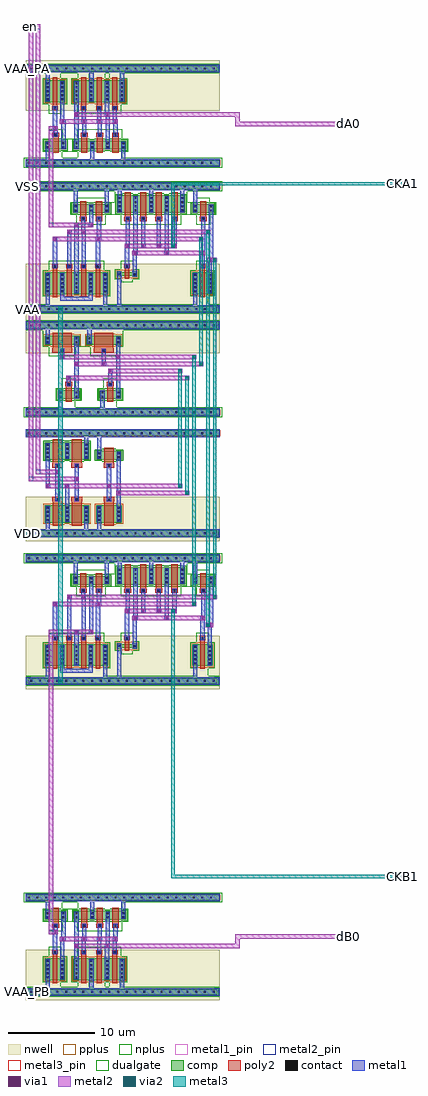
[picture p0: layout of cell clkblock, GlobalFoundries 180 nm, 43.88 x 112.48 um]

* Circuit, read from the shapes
.subckt clkblock CKA1 CKB1 VAA VAA_PA VAA_PB VDD VSS ck dA0 dB0 en
XM1 ck_pB_5/pB1 ck_aB_0/gB VSS VSS nfet_06v0 w=1u l=0.7u
XM2 n1 ck ck_FE_4/inb VSS nfet_03v3 w=2u l=1.12u
XM3 ck_pA_2/pA1 ck_aA_3/gA VSS VSS nfet_06v0 w=1u l=0.7u
XM4 ck_LS_1/x ck_FE_4/in VSS VSS nfet_06v0 w=1u l=0.7u
XM5 VSS en n1 VSS nfet_03v3 w=2u l=1.12u
XM6 ck_aB_0/gB ck_aA_3/sA VSS VSS nfet_06v0 w=1u l=0.7u
XM7 ck_aA_3/gA ck_aA_3/sB VSS VSS nfet_06v0 w=1u l=0.7u
XM8 VSS ck_pB_5/pB1 dB0 VSS nfet_06v0 w=1u l=0.7u m=3
XM9 VSS ck_pA_2/pA1 dA0 VSS nfet_06v0 w=1u l=0.7u m=3
XM10 VSS ck_LS_1/xb ck_aB_0/gB VSS nfet_06v0 w=1u l=0.7u
XM11 VSS ck_LS_1/x ck_aA_3/gA VSS nfet_06v0 w=1u l=0.7u
XM12 ck_FE_4/in ck_FE_4/inb VSS VSS nfet_03v3 w=1u l=1.12u
XM13 ck_LS_1/xb ck_FE_4/inb VSS VSS nfet_06v0 w=1u l=0.7u
XM14 ck_aB_0/fB CKB1 VSS VSS nfet_06v0 w=2u l=0.7u m=4
XM15 ck_aA_3/fA CKA1 VSS VSS nfet_06v0 w=2u l=0.7u m=4
XM16 ck_aA_3/sB ck_aB_0/fB VSS VSS nfet_06v0 w=1u l=0.7u
XM17 ck_aA_3/sA ck_aA_3/fA VSS VSS nfet_06v0 w=1u l=0.7u
XM18 ck_pB_5/pB1 ck_aB_0/gB VAA_PB VAA_PB pfet_06v0 w=2.5u l=0.55u
XM19 n2 ck_LS_1/xb VAA VAA pfet_06v0 w=2.5u l=0.55u m=2
XM20 ck_FE_4/inb ck VDD VDD pfet_03v3 w=2u l=1.12u
XM21 ck_LS_1/x ck_LS_1/xb VAA VAA pfet_06v0 w=1u l=2.2u
XM22 n3 ck_LS_1/x VAA VAA pfet_06v0 w=2.5u l=0.55u m=2
XM23 ck_pA_2/pA1 ck_aA_3/gA VAA_PA VAA_PA pfet_06v0 w=2.5u l=0.55u
XM24 ck_aB_0/gB ck_aA_3/sA n2 VAA pfet_06v0 w=2.5u l=0.55u m=2
XM25 ck_aA_3/gA ck_aA_3/sB n3 VAA pfet_06v0 w=2.5u l=0.55u m=2
XM26 VDD en ck_FE_4/inb VDD pfet_03v3 w=2u l=1.12u
XM27 VAA_PB ck_pB_5/pB1 dB0 VAA_PB pfet_06v0 w=2.5u l=0.55u m=3
XM28 VAA_PA ck_pA_2/pA1 dA0 VAA_PA pfet_06v0 w=2.5u l=0.55u m=3
XM29 ck_LS_1/xb ck_LS_1/x VAA VAA pfet_06v0 w=1u l=2.2u
XM30 ck_FE_4/in ck_FE_4/inb VDD VDD pfet_03v3 w=2u l=1.12u
XM31 ck_aB_0/fB CKB1 VAA VAA pfet_06v0 w=0.4u l=0.55u
XM32 ck_aA_3/fA CKA1 VAA VAA pfet_06v0 w=0.4u l=0.55u
XM33 ck_aA_3/sB ck_aB_0/fB VAA VAA pfet_06v0 w=2.5u l=0.55u
XM34 ck_aA_3/sA ck_aA_3/fA VAA VAA pfet_06v0 w=2.5u l=0.55u
.ends

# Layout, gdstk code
import gdstk
lib = gdstk.Library(unit=1e-6, precision=1e-09)
def R(c, l, rs):  # rectangles x0, y0, x1, y1
    for r in rs: c.add(gdstk.rectangle(r[:2], r[2:], *l))
def A(c, l, x, y, w, h, nx, ny, dx, dy):  # array of equal rectangles
    R(c, l, [(x+i*dx, y+j*dy, x+i*dx+w, y+j*dy+h) for i in range(nx) for j in range(ny)])
nwell = (21, 0)
comp = (22, 0)
poly2 = (30, 0)
pplus = (31, 0)
nplus = (32, 0)
contact = (33, 0)
metal1 = (34, 0)
metal1_pin = (34, 10)
via1 = (35, 0)
metal2 = (36, 0)
metal2_pin = (36, 10)
via2 = (38, 0)
metal3 = (42, 0)
metal3_pin = (42, 10)
dualgate = (55, 0)

ck_ab = lib.new_cell('ck_aB')
R(ck_ab, nwell, [(0,9.36,22.385,15.52)])
R(ck_ab, comp, [(0,0.12,22.385,0.78), (10.5,1.5,18.4,3.5), (5.4,2.5,9.7,3.5), (19.2,2.5,21.7,3.5), (10.5,10.23,11.08,10.36), (12.27,10.23,12.85,10.36), (2.2,10.36,9.5,12.86), (10.5,10.36,12.85,10.76), (19.2,10.36,21.55,12.86), (10.5,10.76,11.08,10.89), (12.27,10.76,12.85,10.89), (0.3,14.26,22.085,14.92)])
A(ck_ab, poly2, 11.4, 1.15, 0.7, 2.8, 4, 1, 1.8, 0)
A(ck_ab, poly2, 11.35, 3.95, 0.8, 0.5, 4, 1, 1.8, 0)
A(ck_ab, poly2, 3.05, 9.41, 0.65, 0.5, 4, 1, 1.65, 0)
A(ck_ab, poly2, 3.1, 9.91, 0.55, 3.3, 4, 1, 1.65, 0)
R(ck_ab, poly2, [(6.3,2.15,7,3.95), (8.1,2.15,8.8,3.95), (20.1,2.15,20.8,3.95), (6.25,3.95,7.05,4.45), (8.05,3.95,8.85,4.45), (20.05,3.95,20.85,4.45), (11.35,9.41,12,9.91), (20.05,9.41,20.7,9.91), (11.4,9.91,11.95,11.11), (20.1,9.91,20.65,13.21)])
A(ck_ab, pplus, 2.87, 10.13, 1.01, 0.07, 4, 2, 1.65, 2.89)
R(ck_ab, pplus, [(-0.02,0.1,22.405,0.8), (10.34,10.07,11.24,10.13), (12.11,10.07,13.01,10.13), (10.34,10.13,13.01,10.99), (19.87,10.13,20.88,10.2), (2.04,10.2,9.66,13.02), (19.04,10.2,21.71,13.02), (10.34,10.99,11.24,11.05), (12.11,10.99,13.01,11.05), (19.87,13.02,20.88,13.09)])
A(ck_ab, nplus, 11.17, 1.27, 1.16, 0.07, 4, 2, 1.8, 2.39)
R(ck_ab, nplus, [(10.34,1.34,18.56,3.66), (6.07,2.27,7.23,2.34), (7.87,2.27,9.03,2.34), (19.87,2.27,21.03,2.34), (5.24,2.34,9.86,3.66), (19.04,2.34,21.86,3.66), (6.07,3.66,7.23,3.73), (7.87,3.66,9.03,3.73), (19.87,3.66,21.03,3.73), (0.14,14.1,0.59,14.24), (21.795,14.1,22.245,14.24), (0.14,14.24,22.245,14.94), (0.14,14.94,0.59,15.08), (21.795,14.94,22.245,15.08)])
A(ck_ab, contact, 0.24, 0.34, 0.22, 0.22, 22, 1, 1, 0)
A(ck_ab, contact, 10.74, 1.685, 0.22, 0.22, 5, 4, 1.8, 0.47)
A(ck_ab, contact, 5.64, 2.655, 0.22, 0.22, 3, 2, 1.8, 0.47)
A(ck_ab, contact, 11.64, 4.09, 0.22, 0.22, 4, 1, 1.8, 0)
A(ck_ab, contact, 3.265, 9.55, 0.22, 0.22, 4, 1, 1.65, 0)
A(ck_ab, contact, 2.44, 10.56, 0.22, 0.22, 5, 5, 1.65, 0.47)
A(ck_ab, contact, 19.44, 10.56, 0.22, 0.22, 1, 5, 0, 0.47)
A(ck_ab, contact, 21.09, 10.56, 0.22, 0.22, 1, 5, 0, 0.47)
A(ck_ab, contact, 0.54, 14.48, 0.22, 0.22, 22, 1, 1, 0)
R(ck_ab, contact, [(19.44,2.655,19.66,2.875), (21.24,2.655,21.46,2.875), (19.44,3.125,19.66,3.345), (21.24,3.125,21.46,3.345), (6.54,4.09,6.76,4.31), (8.34,4.09,8.56,4.31), (20.34,4.09,20.56,4.31), (11.565,9.55,11.785,9.77), (20.265,9.55,20.485,9.77), (10.68,10.45,10.9,10.67), (12.45,10.45,12.67,10.67)])
A(ck_ab, metal1, 10.61, 0.9, 0.48, 2.51, 3, 1, 3.6, 0)
A(ck_ab, metal1, 11.51, 3.96, 0.48, 2.31, 4, 1, 1.8, 0)
A(ck_ab, metal1, 13.29, 6.27, 0.52, 0.52, 3, 1, 1.8, 0)
R(ck_ab, metal1, [(0,0,22.385,0.9), (5.51,0.9,5.99,3.41), (9.11,0.9,9.59,3.41), (19.31,0.9,19.79,3.41), (12.41,1.59,12.89,7.07), (16.01,1.59,16.49,7.07), (7.31,2.59,7.79,8.67), (21.11,2.59,21.59,7.87), (6.41,3.96,6.89,4.67), (8.21,3.96,8.69,5.47), (20.21,3.96,20.69,7.07), (4.765,4.67,5.285,5.19), (6.39,4.67,6.935,5.19), (4.785,5.19,5.265,9.9), (6.435,5.19,6.915,9.9), (3.115,5.47,3.635,5.99), (8.065,5.47,8.71,5.99), (3.135,5.99,3.615,9.9), (8.085,5.99,8.565,9.9), (11.415,6.27,12.01,6.79), (11.435,6.79,11.915,9.9), (12.3,7.07,12.91,7.59), (15.99,7.07,16.51,7.59), (20.115,7.07,20.71,7.59), (12.32,7.59,12.8,10.8), (20.135,7.59,20.615,9.9), (20.94,7.87,21.61,8.39), (20.96,8.39,21.44,12.77), (5.59,8.67,6.11,9.19), (7.29,8.67,7.81,9.19), (5.61,9.19,6.09,12.77), (10.55,10.32,11.03,14.14), (2.31,10.45,2.79,14.14), (3.96,10.45,4.44,13.16), (7.26,10.45,7.74,13.16), (8.91,10.45,9.39,14.14), (19.31,10.45,19.79,14.14), (3.96,13.16,7.74,13.64), (0,14.14,22.385,15.04)])
R(ck_ab, metal1_pin, [(0,0,0.5,0.9), (0,14.14,0.5,15.04)])
A(ck_ab, via1, 13.42, 6.4, 0.26, 0.26, 3, 1, 1.8, 0)
R(ck_ab, via1, [(4.895,4.8,5.155,5.06), (6.53,4.8,6.79,5.06), (3.245,5.6,3.505,5.86), (8.255,5.6,8.515,5.86), (11.58,6.4,11.84,6.66), (12.475,7.2,12.735,7.46), (16.12,7.2,16.38,7.46), (20.28,7.2,20.54,7.46), (21.145,8,21.405,8.26), (5.72,8.8,5.98,9.06), (7.42,8.8,7.68,9.06)])
R(ck_ab, metal2, [(4.765,4.67,22.045,5.19), (3.115,5.47,19.645,5.99), (11.415,6.27,17.41,6.79), (12.3,7.07,20.71,7.59), (20.725,7.87,21.61,8.39), (2.64,8.67,7.81,9.19)])
R(ck_ab, metal2_pin, [(4.765,4.67,5.285,5.19), (3.115,5.47,3.635,5.99), (11.415,6.27,11.935,6.79), (12.3,7.07,12.82,7.59), (20.725,7.87,21.245,8.39), (2.64,8.67,3.16,9.19)])
R(ck_ab, dualgate, [(-0.24,-0.12,22.625,1.02), (10.26,1.02,18.64,2.26), (5.9,1.75,9.2,2.26), (19.7,1.75,21.2,2.26), (5.16,2.26,21.94,3.74), (5.85,3.74,9.25,4.85), (10.95,3.74,17.95,4.85), (19.65,3.74,21.25,4.85), (2.65,9.01,9.05,10.12), (10.95,9.01,12.4,9.99), (19.65,9.01,21.1,10.12), (10.26,9.99,13.09,11.13), (1.96,10.12,9.74,13.1), (18.96,10.12,21.79,13.1), (11,11.13,12.35,11.51), (2.7,13.1,9,14.02), (19.7,13.1,21.05,14.02), (0.06,14.02,22.325,15.16)])
ck_ab.add(gdstk.Label('VAA', (0.25,14.59), layer=34, texttype=10))
ck_ab.add(gdstk.Label('VSS', (0.25,0.45), layer=34, texttype=10))
ck_ab.add(gdstk.Label('gB', (2.9,8.93), layer=36, texttype=10))
ck_ab.add(gdstk.Label('sB', (20.985,8.13), layer=36, texttype=10))
ck_ab.add(gdstk.Label('fB', (12.56,7.33), layer=36, texttype=10))
ck_ab.add(gdstk.Label('CKB1', (11.675,6.53), layer=36, texttype=10))
ck_ab.add(gdstk.Label('xb', (3.375,5.73), layer=36, texttype=10))
ck_ab.add(gdstk.Label('sA', (5.025,4.93), layer=36, texttype=10))

ck_ls = lib.new_cell('ck_LS')
R(ck_ls, nwell, [(0,7.26,22.385,11.42)])
R(ck_ls, comp, [(0,0.12,22.385,0.78), (3.7,2,6.2,3), (8.5,2,11,3), (2.2,8.26,6.2,9.26), (7,8.26,11,9.26), (0.3,10.16,22.085,10.82)])
R(ck_ls, poly2, [(4.6,1.65,5.3,3.45), (9.4,1.65,10.1,3.45), (4.55,3.45,5.35,3.95), (9.35,3.45,10.15,3.95), (3.05,7.31,5.35,7.81), (7.85,7.31,10.15,7.81), (3.1,7.81,5.3,9.61), (7.9,7.81,10.1,9.61)])
R(ck_ls, pplus, [(-0.02,0.1,22.405,0.8), (2.87,8.03,5.53,8.1), (7.67,8.03,10.33,8.1), (2.04,8.1,6.36,9.42), (6.84,8.1,11.16,9.42), (2.87,9.42,5.53,9.49), (7.67,9.42,10.33,9.49)])
R(ck_ls, nplus, [(4.37,1.77,5.53,1.84), (9.17,1.77,10.33,1.84), (3.54,1.84,6.36,3.16), (8.34,1.84,11.16,3.16), (4.37,3.16,5.53,3.23), (9.17,3.16,10.33,3.23), (0.14,10,0.59,10.14), (21.795,10,22.245,10.14), (0.14,10.14,22.245,10.84), (0.14,10.84,0.59,10.98), (21.795,10.84,22.245,10.98)])
A(ck_ls, contact, 0.24, 0.34, 0.22, 0.22, 22, 1, 1, 0)
A(ck_ls, contact, 0.54, 10.38, 0.22, 0.22, 22, 1, 1, 0)
R(ck_ls, contact, [(3.94,2.155,4.16,2.375), (5.74,2.155,5.96,2.375), (8.74,2.155,8.96,2.375), (10.54,2.155,10.76,2.375), (3.94,2.625,4.16,2.845), (5.74,2.625,5.96,2.845), (8.74,2.625,8.96,2.845), (10.54,2.625,10.76,2.845), (4.84,3.59,5.06,3.81), (9.64,3.59,9.86,3.81), (4.09,7.45,4.31,7.67), (8.89,7.45,9.11,7.67), (2.44,8.415,2.66,8.635), (5.74,8.415,5.96,8.635), (7.24,8.415,7.46,8.635), (10.54,8.415,10.76,8.635), (2.44,8.885,2.66,9.105), (5.74,8.885,5.96,9.105), (7.24,8.885,7.46,9.105), (10.54,8.885,10.76,9.105)])
R(ck_ls, metal1, [(0,0,22.385,0.9), (3.81,0.9,4.29,2.91), (8.61,0.9,9.09,2.91), (5.61,2.09,6.09,5.77), (10.41,2.09,10.89,6.57), (4.71,3.46,5.19,4.17), (9.51,3.46,9.99,4.97), (4.69,4.17,5.21,4.69), (9.49,4.97,10.01,5.49), (5.59,5.77,6.11,6.29), (8.74,5.77,9.26,6.29), (5.61,6.29,6.09,9.17), (8.76,6.29,9.24,7.8), (3.94,6.57,4.46,7.09), (10.39,6.57,10.91,7.09), (3.96,7.09,4.44,7.8), (10.41,7.09,10.89,9.17), (2.31,8.35,2.79,10.04), (7.11,8.35,7.59,10.04), (0,10.04,22.385,10.94)])
R(ck_ls, metal1_pin, [(0,0,0.5,0.9), (0,10.04,0.5,10.94)])
R(ck_ls, via1, [(4.82,4.3,5.08,4.56), (9.62,5.1,9.88,5.36), (5.72,5.9,5.98,6.16), (8.87,5.9,9.13,6.16), (4.07,6.7,4.33,6.96), (10.52,6.7,10.78,6.96)])
R(ck_ls, metal2, [(4.69,4.17,18.845,4.69), (9.49,4.97,18.045,5.49), (5.59,5.77,20.445,6.29), (3.94,6.57,19.645,7.09)])
R(ck_ls, metal2_pin, [(4.69,4.17,5.21,4.69), (9.49,4.97,10.01,5.49), (5.59,5.77,6.11,6.29), (3.94,6.57,4.46,7.09)])
R(ck_ls, dualgate, [(-0.24,-0.12,22.625,1.02), (4.2,1.02,5.7,1.76), (9,1.02,10.5,1.76), (3.46,1.76,6.44,3.24), (8.26,1.76,11.24,3.24), (4.15,3.24,5.75,4.35), (8.95,3.24,10.55,4.35), (2.65,6.91,5.75,8.02), (7.45,6.91,10.55,8.02), (1.96,8.02,11.24,9.92), (0.06,9.92,22.325,11.06)])
ck_ls.add(gdstk.Label('VAA', (0.25,10.49), layer=34, texttype=10))
ck_ls.add(gdstk.Label('VSS', (0.25,0.45), layer=34, texttype=10))
ck_ls.add(gdstk.Label('xb', (4.2,6.83), layer=36, texttype=10))
ck_ls.add(gdstk.Label('x', (5.85,6.03), layer=36, texttype=10))
ck_ls.add(gdstk.Label('inb', (9.75,5.23), layer=36, texttype=10))
ck_ls.add(gdstk.Label('in', (4.95,4.43), layer=36, texttype=10))

ck_pa = lib.new_cell('ck_pA')
R(ck_pa, nwell, [(0,6.46,22.385,12.26)])
R(ck_pa, comp, [(0,0.12,22.385,0.78), (2.2,2,4.7,3), (5.5,2,11.6,3), (2.2,7.46,4.55,9.96), (5.5,7.46,11.45,9.96), (0.3,11,22.085,11.66)])
A(ck_pa, poly2, 6.4, 1.65, 0.7, 1.8, 3, 1, 1.8, 0)
A(ck_pa, poly2, 6.35, 3.45, 0.8, 0.5, 3, 1, 1.8, 0)
A(ck_pa, poly2, 6.35, 6.51, 0.65, 0.5, 3, 1, 1.8, 0)
A(ck_pa, poly2, 6.4, 7.01, 0.55, 3.3, 3, 1, 1.8, 0)
R(ck_pa, poly2, [(3.1,1.65,3.8,3.45), (3.05,3.45,3.85,3.95), (3.05,6.51,3.7,7.01), (3.1,7.01,3.65,10.31)])
A(ck_pa, pplus, 6.17, 7.23, 1.01, 0.07, 3, 2, 1.8, 2.89)
R(ck_pa, pplus, [(-0.02,0.1,22.405,0.8), (2.87,7.23,3.88,7.3), (2.04,7.3,4.71,10.12), (5.34,7.3,11.61,10.12), (2.87,10.12,3.88,10.19)])
A(ck_pa, nplus, 6.17, 1.77, 1.16, 0.07, 3, 2, 1.8, 1.39)
R(ck_pa, nplus, [(2.87,1.77,4.03,1.84), (2.04,1.84,4.86,3.16), (5.34,1.84,11.76,3.16), (2.87,3.16,4.03,3.23), (0.14,10.84,0.59,10.98), (21.795,10.84,22.245,10.98), (0.14,10.98,22.245,11.68), (0.14,11.68,0.59,11.82), (21.795,11.68,22.245,11.82)])
A(ck_pa, contact, 0.24, 0.34, 0.22, 0.22, 22, 1, 1, 0)
A(ck_pa, contact, 5.74, 2.155, 0.22, 0.22, 4, 2, 1.8, 0.47)
A(ck_pa, contact, 6.64, 3.59, 0.22, 0.22, 3, 1, 1.8, 0)
A(ck_pa, contact, 6.565, 6.65, 0.22, 0.22, 3, 1, 1.8, 0)
A(ck_pa, contact, 2.44, 7.66, 0.22, 0.22, 3, 5, 1.65, 0.47)
A(ck_pa, contact, 7.465, 7.66, 0.22, 0.22, 1, 5, 0, 0.47)
A(ck_pa, contact, 9.265, 7.66, 0.22, 0.22, 1, 5, 0, 0.47)
A(ck_pa, contact, 10.99, 7.66, 0.22, 0.22, 1, 5, 0, 0.47)
A(ck_pa, contact, 0.54, 11.22, 0.22, 0.22, 22, 1, 1, 0)
R(ck_pa, contact, [(2.44,2.155,2.66,2.375), (4.24,2.155,4.46,2.375), (2.44,2.625,2.66,2.845), (4.24,2.625,4.46,2.845), (3.34,3.59,3.56,3.81), (3.265,6.65,3.485,6.87)])
A(ck_pa, metal1, 6.51, 3.46, 0.48, 1.51, 3, 1, 1.8, 0)
A(ck_pa, metal1, 6.415, 4.97, 0.595, 0.52, 3, 1, 1.8, 0)
A(ck_pa, metal1, 6.435, 5.49, 0.48, 1.51, 3, 1, 1.8, 0)
R(ck_pa, metal1, [(0,0,22.385,0.9), (2.31,0.9,2.79,2.91), (7.41,0.9,7.89,2.91), (11.01,0.9,11.49,2.91), (4.11,2.09,4.59,4.97), (5.61,2.09,6.09,5.77), (9.21,2.09,9.69,5.77), (3.21,3.46,3.69,4.17), (3.115,4.17,3.71,4.69), (3.135,4.69,3.615,7), (3.94,4.97,4.61,5.49), (3.96,5.49,4.44,9.87), (5.59,5.77,6.11,6.29), (9.115,5.77,9.71,6.29), (5.61,6.29,6.09,9.87), (9.135,6.29,9.615,9.87), (2.31,7.55,2.79,10.88), (7.335,7.55,7.815,10.88), (10.86,7.55,11.34,10.88), (0,10.88,22.385,11.78)])
R(ck_pa, metal1_pin, [(0,0,0.5,0.9), (0,10.88,0.5,11.78)])
A(ck_pa, via1, 6.58, 5.1, 0.26, 0.26, 3, 1, 1.8, 0)
R(ck_pa, via1, [(3.28,4.3,3.54,4.56), (4.145,5.1,4.405,5.36), (5.72,5.9,5.98,6.16), (9.28,5.9,9.54,6.16)])
R(ck_pa, metal2, [(2.64,4.17,3.71,4.69), (3.94,4.97,10.61,5.49), (5.59,5.77,22.645,6.29)])
R(ck_pa, metal2_pin, [(2.64,4.17,3.16,4.69), (3.94,4.97,4.46,5.49), (5.59,5.77,6.11,6.29)])
A(ck_pa, dualgate, 6, 10.2, 1.35, 0.56, 3, 1, 1.8, 0)
R(ck_pa, dualgate, [(-0.24,-0.12,22.625,1.02), (2.7,1.02,4.2,1.76), (6,1.02,11.1,1.76), (1.96,1.76,11.84,3.24), (2.65,3.24,4.25,4.35), (5.95,3.24,11.15,4.35), (2.65,6.11,4.1,7.22), (5.95,6.11,11,7.22), (1.96,7.22,4.79,10.2), (5.26,7.22,11.69,10.2), (2.7,10.2,4.05,10.76), (0.06,10.76,22.325,11.9)])
ck_pa.add(gdstk.Label('VAA_PA', (0.25,11.33), layer=34, texttype=10))
ck_pa.add(gdstk.Label('VSS', (0.25,0.45), layer=34, texttype=10))
ck_pa.add(gdstk.Label('dA0', (5.85,6.03), layer=36, texttype=10))
ck_pa.add(gdstk.Label('pA1', (4.2,5.23), layer=36, texttype=10))
ck_pa.add(gdstk.Label('gA', (2.9,4.43), layer=36, texttype=10))

ck_aa = lib.new_cell('ck_aA')
R(ck_aa, nwell, [(0,9.36,22.385,15.52)])
R(ck_aa, comp, [(0,0.12,22.385,0.78), (10.5,1.5,18.4,3.5), (5.4,2.5,9.7,3.5), (19.2,2.5,21.7,3.5), (10.5,10.23,11.08,10.36), (12.27,10.23,12.85,10.36), (2.2,10.36,9.5,12.86), (10.5,10.36,12.85,10.76), (19.2,10.36,21.55,12.86), (10.5,10.76,11.08,10.89), (12.27,10.76,12.85,10.89), (0.3,14.26,22.085,14.92)])
A(ck_aa, poly2, 11.4, 1.15, 0.7, 2.8, 4, 1, 1.8, 0)
A(ck_aa, poly2, 11.35, 3.95, 0.8, 0.5, 4, 1, 1.8, 0)
A(ck_aa, poly2, 3.05, 9.41, 0.65, 0.5, 4, 1, 1.65, 0)
A(ck_aa, poly2, 3.1, 9.91, 0.55, 3.3, 4, 1, 1.65, 0)
R(ck_aa, poly2, [(6.3,2.15,7,3.95), (8.1,2.15,8.8,3.95), (20.1,2.15,20.8,3.95), (6.25,3.95,7.05,4.45), (8.05,3.95,8.85,4.45), (20.05,3.95,20.85,4.45), (11.35,9.41,12,9.91), (20.05,9.41,20.7,9.91), (11.4,9.91,11.95,11.11), (20.1,9.91,20.65,13.21)])
A(ck_aa, pplus, 2.87, 10.13, 1.01, 0.07, 4, 2, 1.65, 2.89)
R(ck_aa, pplus, [(-0.02,0.1,22.405,0.8), (10.34,10.07,11.24,10.13), (12.11,10.07,13.01,10.13), (10.34,10.13,13.01,10.99), (19.87,10.13,20.88,10.2), (2.04,10.2,9.66,13.02), (19.04,10.2,21.71,13.02), (10.34,10.99,11.24,11.05), (12.11,10.99,13.01,11.05), (19.87,13.02,20.88,13.09)])
A(ck_aa, nplus, 11.17, 1.27, 1.16, 0.07, 4, 2, 1.8, 2.39)
R(ck_aa, nplus, [(10.34,1.34,18.56,3.66), (6.07,2.27,7.23,2.34), (7.87,2.27,9.03,2.34), (19.87,2.27,21.03,2.34), (5.24,2.34,9.86,3.66), (19.04,2.34,21.86,3.66), (6.07,3.66,7.23,3.73), (7.87,3.66,9.03,3.73), (19.87,3.66,21.03,3.73), (0.14,14.1,0.59,14.24), (21.795,14.1,22.245,14.24), (0.14,14.24,22.245,14.94), (0.14,14.94,0.59,15.08), (21.795,14.94,22.245,15.08)])
A(ck_aa, contact, 0.24, 0.34, 0.22, 0.22, 22, 1, 1, 0)
A(ck_aa, contact, 10.74, 1.685, 0.22, 0.22, 5, 4, 1.8, 0.47)
A(ck_aa, contact, 5.64, 2.655, 0.22, 0.22, 3, 2, 1.8, 0.47)
A(ck_aa, contact, 11.64, 4.09, 0.22, 0.22, 4, 1, 1.8, 0)
A(ck_aa, contact, 3.265, 9.55, 0.22, 0.22, 4, 1, 1.65, 0)
A(ck_aa, contact, 2.44, 10.56, 0.22, 0.22, 5, 5, 1.65, 0.47)
A(ck_aa, contact, 19.44, 10.56, 0.22, 0.22, 1, 5, 0, 0.47)
A(ck_aa, contact, 21.09, 10.56, 0.22, 0.22, 1, 5, 0, 0.47)
A(ck_aa, contact, 0.54, 14.48, 0.22, 0.22, 22, 1, 1, 0)
R(ck_aa, contact, [(19.44,2.655,19.66,2.875), (21.24,2.655,21.46,2.875), (19.44,3.125,19.66,3.345), (21.24,3.125,21.46,3.345), (6.54,4.09,6.76,4.31), (8.34,4.09,8.56,4.31), (20.34,4.09,20.56,4.31), (11.565,9.55,11.785,9.77), (20.265,9.55,20.485,9.77), (10.68,10.45,10.9,10.67), (12.45,10.45,12.67,10.67)])
A(ck_aa, metal1, 10.61, 0.9, 0.48, 2.51, 3, 1, 3.6, 0)
A(ck_aa, metal1, 11.51, 3.96, 0.48, 3.11, 4, 1, 1.8, 0)
A(ck_aa, metal1, 13.29, 7.07, 0.52, 0.52, 3, 1, 1.8, 0)
R(ck_aa, metal1, [(0,0,22.385,0.9), (5.51,0.9,5.99,3.41), (9.11,0.9,9.59,3.41), (19.31,0.9,19.79,3.41), (12.41,1.59,12.89,7.87), (16.01,1.59,16.49,7.87), (7.31,2.59,7.79,4.67), (21.11,2.59,21.59,8.67), (6.41,3.96,6.89,5.47), (8.21,3.96,8.69,6.27), (20.21,3.96,20.69,7.87), (5.59,4.67,6.11,5.19), (7.29,4.67,7.81,5.19), (5.61,5.19,6.09,12.77), (4.765,5.47,5.285,5.99), (6.39,5.47,6.935,5.99), (4.785,5.99,5.265,9.9), (6.435,5.99,6.915,9.9), (3.115,6.27,3.635,6.79), (8.065,6.27,8.71,6.79), (3.135,6.79,3.615,9.9), (8.085,6.79,8.565,9.9), (11.415,7.07,12.01,7.59), (11.435,7.59,11.915,9.9), (12.3,7.87,12.91,8.39), (15.99,7.87,16.51,8.39), (20.115,7.87,20.71,8.39), (12.32,8.39,12.8,10.8), (20.135,8.39,20.615,9.9), (20.94,8.67,21.61,9.19), (20.96,9.19,21.44,12.77), (10.55,10.32,11.03,14.14), (2.31,10.45,2.79,14.14), (3.96,10.45,4.44,13.16), (7.26,10.45,7.74,13.16), (8.91,10.45,9.39,14.14), (19.31,10.45,19.79,14.14), (3.96,13.16,7.74,13.64), (0,14.14,22.385,15.04)])
R(ck_aa, metal1_pin, [(0,0,0.5,0.9), (0,14.14,0.5,15.04)])
A(ck_aa, via1, 13.42, 7.2, 0.26, 0.26, 3, 1, 1.8, 0)
R(ck_aa, via1, [(5.72,4.8,5.98,5.06), (7.42,4.8,7.68,5.06), (4.895,5.6,5.155,5.86), (6.53,5.6,6.79,5.86), (3.245,6.4,3.505,6.66), (8.255,6.4,8.515,6.66), (11.58,7.2,11.84,7.46), (12.475,8,12.735,8.26), (16.12,8,16.38,8.26), (20.28,8,20.54,8.26), (21.145,8.8,21.405,9.06)])
R(ck_aa, metal2, [(2.64,4.67,7.81,5.19), (4.765,5.47,21.245,5.99), (3.115,6.27,20.445,6.79), (11.415,7.07,17.41,7.59), (12.3,7.87,20.71,8.39), (20.94,8.67,22.045,9.19)])
R(ck_aa, metal2_pin, [(2.64,4.67,3.16,5.19), (4.765,5.47,5.285,5.99), (3.115,6.27,3.635,6.79), (11.415,7.07,11.935,7.59), (12.3,7.87,12.82,8.39), (20.94,8.67,21.46,9.19)])
R(ck_aa, dualgate, [(-0.24,-0.12,22.625,1.02), (10.26,1.02,18.64,2.26), (5.9,1.75,9.2,2.26), (19.7,1.75,21.2,2.26), (5.16,2.26,21.94,3.74), (5.85,3.74,9.25,4.85), (10.95,3.74,17.95,4.85), (19.65,3.74,21.25,4.85), (2.65,9.01,9.05,10.12), (10.95,9.01,12.4,9.99), (19.65,9.01,21.1,10.12), (10.26,9.99,13.09,11.13), (1.96,10.12,9.74,13.1), (18.96,10.12,21.79,13.1), (11,11.13,12.35,11.51), (2.7,13.1,9,14.02), (19.7,13.1,21.05,14.02), (0.06,14.02,22.325,15.16)])
ck_aa.add(gdstk.Label('VAA', (0.25,14.59), layer=34, texttype=10))
ck_aa.add(gdstk.Label('VSS', (0.25,0.45), layer=34, texttype=10))
ck_aa.add(gdstk.Label('sA', (21.2,8.93), layer=36, texttype=10))
ck_aa.add(gdstk.Label('fA', (12.56,8.13), layer=36, texttype=10))
ck_aa.add(gdstk.Label('CKA1', (11.675,7.33), layer=36, texttype=10))
ck_aa.add(gdstk.Label('x', (3.375,6.53), layer=36, texttype=10))
ck_aa.add(gdstk.Label('sB', (5.025,5.73), layer=36, texttype=10))
ck_aa.add(gdstk.Label('gA', (2.9,4.93), layer=36, texttype=10))

ck_fe = lib.new_cell('ck_FE')
R(ck_fe, nwell, [(0,7.76,22.385,12.92)])
R(ck_fe, comp, [(0,0.12,22.385,0.78), (2.2,1.5,7.34,3.5), (8.14,2.5,11.06,3.5), (2.2,8.76,7.34,10.76), (8.14,8.76,11.06,10.76), (0.3,11.66,22.085,12.32)])
R(ck_fe, poly2, [(3.1,1.15,4.22,3.95), (5.32,1.15,6.44,3.95), (9.04,2.15,10.16,3.95), (3.05,3.95,4.27,4.45), (5.27,3.95,6.49,4.45), (8.99,3.95,10.21,4.45), (3.05,7.81,4.27,8.31), (5.27,7.81,6.49,8.31), (8.99,7.81,10.21,8.31), (3.1,8.31,4.22,11.11), (5.32,8.31,6.44,11.11), (9.04,8.31,10.16,11.11)])
R(ck_fe, pplus, [(-0.02,0.1,22.405,0.8), (2.87,8.53,4.45,8.6), (5.09,8.53,6.67,8.6), (8.81,8.53,10.39,8.6), (2.04,8.6,7.5,10.92), (7.98,8.6,11.22,10.92), (2.87,10.92,4.45,10.99), (5.09,10.92,6.67,10.99), (8.81,10.92,10.39,10.99)])
R(ck_fe, nplus, [(2.87,1.27,4.45,1.34), (5.09,1.27,6.67,1.34), (2.04,1.34,7.5,3.66), (8.81,2.27,10.39,2.34), (7.98,2.34,11.22,3.66), (2.87,3.66,4.45,3.73), (5.09,3.66,6.67,3.73), (8.81,3.66,10.39,3.73), (0.14,11.5,0.59,11.64), (21.795,11.5,22.245,11.64), (0.14,11.64,22.245,12.34), (0.14,12.34,0.59,12.48), (21.795,12.34,22.245,12.48)])
A(ck_fe, contact, 0.24, 0.34, 0.22, 0.22, 22, 1, 1, 0)
A(ck_fe, contact, 2.44, 1.685, 0.22, 0.22, 3, 4, 2.22, 0.47)
A(ck_fe, contact, 2.44, 8.945, 0.22, 0.22, 3, 4, 2.22, 0.47)
A(ck_fe, contact, 8.38, 8.945, 0.22, 0.22, 1, 4, 0, 0.47)
A(ck_fe, contact, 10.6, 8.945, 0.22, 0.22, 1, 4, 0, 0.47)
A(ck_fe, contact, 0.54, 11.88, 0.22, 0.22, 22, 1, 1, 0)
R(ck_fe, contact, [(8.38,2.655,8.6,2.875), (10.6,2.655,10.82,2.875), (8.38,3.125,8.6,3.345), (10.6,3.125,10.82,3.345), (3.55,4.09,3.77,4.31), (5.77,4.09,5.99,4.31), (9.49,4.09,9.71,4.31), (3.55,7.95,3.77,8.17), (5.77,7.95,5.99,8.17), (9.49,7.95,9.71,8.17)])
R(ck_fe, metal1, [(0,0,22.385,0.9), (6.75,0.9,7.23,3.41), (8.25,0.9,8.73,3.41), (2.31,1.59,2.79,6.27), (4.53,1.59,5.01,3.41), (10.47,2.59,10.95,7.07), (3.42,3.96,3.9,4.67), (5.64,3.96,6.12,5.47), (9.36,3.96,9.84,6.27), (3.4,4.67,3.92,5.19), (3.42,5.19,3.9,8.3), (5.62,5.47,6.14,5.99), (5.64,5.99,6.12,8.3), (2.29,6.27,2.81,6.79), (4.51,6.27,5.03,6.79), (9.34,6.27,9.86,6.79), (4.53,6.79,5.01,10.67), (9.36,6.79,9.84,8.3), (10.45,7.07,10.97,7.59), (10.47,7.59,10.95,10.67), (2.31,8.85,2.79,11.54), (6.75,8.85,7.23,11.54), (8.25,8.85,8.73,11.54), (0,11.54,22.385,12.44)])
R(ck_fe, metal1_pin, [(0,0,0.5,0.9), (0,11.54,0.5,12.44)])
R(ck_fe, via1, [(3.53,4.8,3.79,5.06), (5.75,5.6,6.01,5.86), (2.42,6.4,2.68,6.66), (4.64,6.4,4.9,6.66), (9.47,6.4,9.73,6.66), (10.58,7.2,10.84,7.46)])
R(ck_fe, metal2, [(1.14,4.67,3.92,5.19), (0.34,5.47,6.14,5.99), (2.29,6.27,18.045,6.79), (10.45,7.07,18.845,7.59)])
R(ck_fe, metal2_pin, [(1.14,4.67,1.66,5.19), (0.34,5.47,0.86,5.99), (2.29,6.27,2.81,6.79), (10.45,7.07,10.97,7.59)])
ck_fe.add(gdstk.Label('VDD', (0.25,11.99), layer=34, texttype=10))
ck_fe.add(gdstk.Label('VSS', (0.25,0.45), layer=34, texttype=10))
ck_fe.add(gdstk.Label('in', (10.71,7.33), layer=36, texttype=10))
ck_fe.add(gdstk.Label('inb', (2.55,6.53), layer=36, texttype=10))
ck_fe.add(gdstk.Label('en', (0.6,5.73), layer=36, texttype=10))
ck_fe.add(gdstk.Label('ck', (1.4,4.93), layer=36, texttype=10))

ck_pb = lib.new_cell('ck_pB')
R(ck_pb, nwell, [(0,6.46,22.385,12.26)])
R(ck_pb, comp, [(0,0.12,22.385,0.78), (2.2,2,4.7,3), (5.5,2,11.6,3), (2.2,7.46,4.55,9.96), (5.5,7.46,11.45,9.96), (0.3,11,22.085,11.66)])
A(ck_pb, poly2, 6.4, 1.65, 0.7, 1.8, 3, 1, 1.8, 0)
A(ck_pb, poly2, 6.35, 3.45, 0.8, 0.5, 3, 1, 1.8, 0)
A(ck_pb, poly2, 6.35, 6.51, 0.65, 0.5, 3, 1, 1.8, 0)
A(ck_pb, poly2, 6.4, 7.01, 0.55, 3.3, 3, 1, 1.8, 0)
R(ck_pb, poly2, [(3.1,1.65,3.8,3.45), (3.05,3.45,3.85,3.95), (3.05,6.51,3.7,7.01), (3.1,7.01,3.65,10.31)])
A(ck_pb, pplus, 6.17, 7.23, 1.01, 0.07, 3, 2, 1.8, 2.89)
R(ck_pb, pplus, [(-0.02,0.1,22.405,0.8), (2.87,7.23,3.88,7.3), (2.04,7.3,4.71,10.12), (5.34,7.3,11.61,10.12), (2.87,10.12,3.88,10.19)])
A(ck_pb, nplus, 6.17, 1.77, 1.16, 0.07, 3, 2, 1.8, 1.39)
R(ck_pb, nplus, [(2.87,1.77,4.03,1.84), (2.04,1.84,4.86,3.16), (5.34,1.84,11.76,3.16), (2.87,3.16,4.03,3.23), (0.14,10.84,0.59,10.98), (21.795,10.84,22.245,10.98), (0.14,10.98,22.245,11.68), (0.14,11.68,0.59,11.82), (21.795,11.68,22.245,11.82)])
A(ck_pb, contact, 0.24, 0.34, 0.22, 0.22, 22, 1, 1, 0)
A(ck_pb, contact, 5.74, 2.155, 0.22, 0.22, 4, 2, 1.8, 0.47)
A(ck_pb, contact, 6.64, 3.59, 0.22, 0.22, 3, 1, 1.8, 0)
A(ck_pb, contact, 6.565, 6.65, 0.22, 0.22, 3, 1, 1.8, 0)
A(ck_pb, contact, 2.44, 7.66, 0.22, 0.22, 3, 5, 1.65, 0.47)
A(ck_pb, contact, 7.465, 7.66, 0.22, 0.22, 1, 5, 0, 0.47)
A(ck_pb, contact, 9.265, 7.66, 0.22, 0.22, 1, 5, 0, 0.47)
A(ck_pb, contact, 10.99, 7.66, 0.22, 0.22, 1, 5, 0, 0.47)
A(ck_pb, contact, 0.54, 11.22, 0.22, 0.22, 22, 1, 1, 0)
R(ck_pb, contact, [(2.44,2.155,2.66,2.375), (4.24,2.155,4.46,2.375), (2.44,2.625,2.66,2.845), (4.24,2.625,4.46,2.845), (3.34,3.59,3.56,3.81), (3.265,6.65,3.485,6.87)])
A(ck_pb, metal1, 6.51, 3.46, 0.48, 1.51, 3, 1, 1.8, 0)
A(ck_pb, metal1, 6.415, 4.97, 0.595, 0.52, 3, 1, 1.8, 0)
A(ck_pb, metal1, 6.435, 5.49, 0.48, 1.51, 3, 1, 1.8, 0)
R(ck_pb, metal1, [(0,0,22.385,0.9), (2.31,0.9,2.79,2.91), (7.41,0.9,7.89,2.91), (11.01,0.9,11.49,2.91), (4.11,2.09,4.59,4.97), (5.61,2.09,6.09,5.77), (9.21,2.09,9.69,5.77), (3.21,3.46,3.69,4.17), (3.115,4.17,3.71,4.69), (3.135,4.69,3.615,7), (3.94,4.97,4.61,5.49), (3.96,5.49,4.44,9.87), (5.59,5.77,6.11,6.29), (9.115,5.77,9.71,6.29), (5.61,6.29,6.09,9.87), (9.135,6.29,9.615,9.87), (2.31,7.55,2.79,10.88), (7.335,7.55,7.815,10.88), (10.86,7.55,11.34,10.88), (0,10.88,22.385,11.78)])
R(ck_pb, metal1_pin, [(0,0,0.5,0.9), (0,10.88,0.5,11.78)])
A(ck_pb, via1, 6.58, 5.1, 0.26, 0.26, 3, 1, 1.8, 0)
R(ck_pb, via1, [(3.28,4.3,3.54,4.56), (4.145,5.1,4.405,5.36), (5.72,5.9,5.98,6.16), (9.28,5.9,9.54,6.16)])
R(ck_pb, metal2, [(2.64,4.17,3.71,4.69), (3.94,4.97,10.61,5.49), (5.59,5.77,22.645,6.29)])
R(ck_pb, metal2_pin, [(2.64,4.17,3.16,4.69), (3.94,4.97,4.46,5.49), (5.59,5.77,6.11,6.29)])
A(ck_pb, dualgate, 6, 10.2, 1.35, 0.56, 3, 1, 1.8, 0)
R(ck_pb, dualgate, [(-0.24,-0.12,22.625,1.02), (2.7,1.02,4.2,1.76), (6,1.02,11.1,1.76), (1.96,1.76,11.84,3.24), (2.65,3.24,4.25,4.35), (5.95,3.24,11.15,4.35), (2.65,6.11,4.1,7.22), (5.95,6.11,11,7.22), (1.96,7.22,4.79,10.2), (5.26,7.22,11.69,10.2), (2.7,10.2,4.05,10.76), (0.06,10.76,22.325,11.9)])
ck_pb.add(gdstk.Label('VAA_PB', (0.25,11.33), layer=34, texttype=10))
ck_pb.add(gdstk.Label('VSS', (0.25,0.45), layer=34, texttype=10))
ck_pb.add(gdstk.Label('dB0', (5.85,6.03), layer=36, texttype=10))
ck_pb.add(gdstk.Label('pB1', (4.2,5.23), layer=36, texttype=10))
ck_pb.add(gdstk.Label('gB', (2.9,4.43), layer=36, texttype=10))

clkblock = lib.new_cell('clkblock')
R(clkblock, metal1, [(18.05,208.41,18.45,209.21), (21.87,244.52,22.13,244.78), (18.05,261.27,18.45,262.07), (18.05,287.11,18.45,287.91), (21.87,287.38,22.13,287.64), (18.05,301.25,18.45,302.05), (18.05,314.83,18.45,315.63)])
R(clkblock, metal1_pin, [(18.05,208.41,18.45,209.21), (18.05,261.27,18.45,262.07), (18.05,287.11,18.45,287.91), (18.05,301.25,18.45,302.05), (18.05,314.83,18.45,315.63)])
R(clkblock, via1, [(21.87,244.52,22.13,244.78), (21.87,287.38,22.13,287.64)])
R(clkblock, metal2, [(40.125,213.85,42.645,214.37), (42.125,214.37,42.645,214.93), (42.125,214.93,55.415,215.45), (20.64,215.45,21.16,250.57), (60.94,221.69,61.64,222.49), (21.75,244.35,22.25,244.95), (38.835,250.96,39.135,251.26), (34.835,252.56,35.135,252.86), (37.235,253.36,37.535,253.66), (39.635,254.16,39.935,254.46), (36.435,266.18,36.735,266.48), (35.635,266.98,35.935,267.28), (18.34,267.67,18.86,320.36), (19.14,268.47,19.66,320.36), (36.435,279.44,36.735,279.74), (35.635,280.24,35.935,280.54), (38.035,281.04,38.335,281.34), (37.235,281.84,37.535,282.14), (21.75,287.21,22.25,287.81), (39.635,293.02,39.935,293.32), (34.835,294.62,35.135,294.92), (38.035,295.42,38.335,295.72), (38.835,296.22,39.135,296.52), (20.64,296.91,21.16,308.59), (60.94,301.55,61.64,302.35), (42.125,308.59,55.415,309.11), (42.125,309.11,42.645,309.67), (40.125,309.67,42.645,310.19)])
R(clkblock, metal2_pin, [(55.015,214.93,55.415,215.45), (55.015,308.59,55.415,309.11), (18.34,319.76,18.86,320.36), (19.14,319.76,19.66,320.36)])
R(clkblock, via2, [(61.16,221.96,61.42,222.22), (21.87,244.52,22.13,244.78), (38.855,250.98,39.115,251.24), (34.855,252.58,35.115,252.84), (37.255,253.38,37.515,253.64), (39.655,254.18,39.915,254.44), (36.455,266.2,36.715,266.46), (35.655,267,35.915,267.26), (36.455,279.46,36.715,279.72), (35.655,280.26,35.915,280.52), (38.055,281.06,38.315,281.32), (37.255,281.86,37.515,282.12), (21.87,287.38,22.13,287.64), (39.655,293.04,39.915,293.3), (34.855,294.64,35.115,294.9), (38.055,295.44,38.315,295.7), (38.855,296.24,39.115,296.5), (61.16,301.82,61.42,302.08)])
R(clkblock, metal3, [(34.785,221.89,61.64,222.29), (34.785,222.29,35.185,252.91), (21.75,244.35,22.25,287.81), (38.785,250.91,39.185,296.57), (37.185,253.31,37.585,282.19), (39.585,254.11,39.985,293.37), (36.385,266.13,36.785,279.79), (35.585,266.93,35.985,280.59), (37.985,280.99,38.385,295.77), (34.785,294.57,35.185,301.75), (34.785,301.75,61.64,302.15)])
R(clkblock, metal3_pin, [(61.14,221.89,61.64,222.29), (61.14,301.75,61.64,302.15)])
clkblock.add(gdstk.Reference(ck_ab, (18,259.24), x_reflection=True))
clkblock.add(gdstk.Reference(ck_ls, (18,275.16)))
clkblock.add(gdstk.Reference(ck_pa, (18,303.9)))
clkblock.add(gdstk.Reference(ck_aa, (18,302.1), x_reflection=True))
clkblock.add(gdstk.Reference(ck_fe, (18,273.66), x_reflection=True))
clkblock.add(gdstk.Reference(ck_pb, (18,220.14), x_reflection=True))
clkblock.add(gdstk.Label('CKB1', (61.39,222.09), layer=42, texttype=10))
clkblock.add(gdstk.Label('CKA1', (61.39,301.95), layer=42, texttype=10))
clkblock.add(gdstk.Label('VSS', (18.25,301.65), layer=34, texttype=10))
clkblock.add(gdstk.Label('VAA_PB', (18.25,208.81), layer=34, texttype=10))
clkblock.add(gdstk.Label('VAA_PA', (18.25,315.23), layer=34, texttype=10))
clkblock.add(gdstk.Label('VDD', (18.25,261.67), layer=34, texttype=10))
clkblock.add(gdstk.Label('VAA', (18.25,287.51), layer=34, texttype=10))
clkblock.add(gdstk.Label('en', (18.6,320.06), layer=36, texttype=10))
clkblock.add(gdstk.Label('ck', (19.4,320.06), layer=36, texttype=10))
clkblock.add(gdstk.Label('dB0', (55.215,215.19), layer=36, texttype=10))
clkblock.add(gdstk.Label('dA0', (55.215,308.85), layer=36, texttype=10))

lib.write_gds('clkblock.gds')
